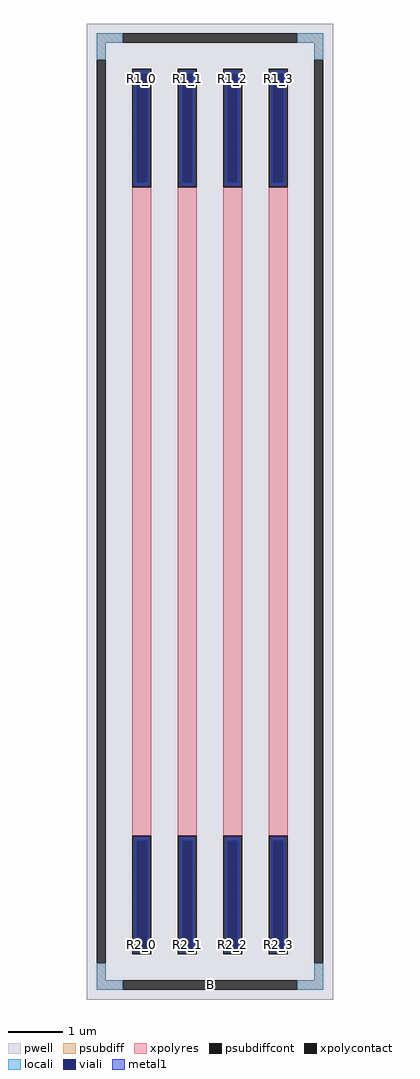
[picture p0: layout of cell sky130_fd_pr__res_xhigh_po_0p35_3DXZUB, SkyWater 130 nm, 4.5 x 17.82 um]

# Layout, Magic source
magic
tech sky130A
magscale 1 2
<< pwell >>
rect -450 -1782 450 1782
<< psubdiff >>
rect -414 1712 -318 1746
rect 318 1712 414 1746
rect -414 1650 -380 1712
rect 380 1650 414 1712
rect -414 -1712 -380 -1650
rect 380 -1712 414 -1650
rect -414 -1746 -318 -1712
rect 318 -1746 414 -1712
<< psubdiffcont >>
rect -318 1712 318 1746
rect -414 -1650 -380 1650
rect 380 -1650 414 1650
rect -318 -1746 318 -1712
<< xpolycontact >>
rect -284 1184 -214 1616
rect -284 -1616 -214 -1184
rect -118 1184 -48 1616
rect -118 -1616 -48 -1184
rect 48 1184 118 1616
rect 48 -1616 118 -1184
rect 214 1184 284 1616
rect 214 -1616 284 -1184
<< xpolyres >>
rect -284 -1184 -214 1184
rect -118 -1184 -48 1184
rect 48 -1184 118 1184
rect 214 -1184 284 1184
<< locali >>
rect -414 1712 -318 1746
rect 318 1712 414 1746
rect -414 1650 -380 1712
rect 380 1650 414 1712
rect -414 -1712 -380 -1650
rect 380 -1712 414 -1650
rect -414 -1746 -318 -1712
rect 318 -1746 414 -1712
<< viali >>
rect -268 1201 -230 1598
rect -102 1201 -64 1598
rect 64 1201 102 1598
rect 230 1201 268 1598
rect -268 -1598 -230 -1201
rect -102 -1598 -64 -1201
rect 64 -1598 102 -1201
rect 230 -1598 268 -1201
<< metal1 >>
rect -274 1598 -224 1610
rect -274 1201 -268 1598
rect -230 1201 -224 1598
rect -274 1189 -224 1201
rect -108 1598 -58 1610
rect -108 1201 -102 1598
rect -64 1201 -58 1598
rect -108 1189 -58 1201
rect 58 1598 108 1610
rect 58 1201 64 1598
rect 102 1201 108 1598
rect 58 1189 108 1201
rect 224 1598 274 1610
rect 224 1201 230 1598
rect 268 1201 274 1598
rect 224 1189 274 1201
rect -274 -1201 -224 -1189
rect -274 -1598 -268 -1201
rect -230 -1598 -224 -1201
rect -274 -1610 -224 -1598
rect -108 -1201 -58 -1189
rect -108 -1598 -102 -1201
rect -64 -1598 -58 -1201
rect -108 -1610 -58 -1598
rect 58 -1201 108 -1189
rect 58 -1598 64 -1201
rect 102 -1598 108 -1201
rect 58 -1610 108 -1598
rect 224 -1201 274 -1189
rect 224 -1598 230 -1201
rect 268 -1598 274 -1201
rect 224 -1610 274 -1598
<< labels >>
rlabel psubdiffcont 0 -1729 0 -1729 0 B
port 1 nsew
rlabel xpolycontact -249 1581 -249 1581 0 R1_0
port 2 nsew
rlabel xpolycontact -249 -1581 -249 -1581 0 R2_0
port 3 nsew
rlabel xpolycontact -83 1581 -83 1581 0 R1_1
port 4 nsew
rlabel xpolycontact -83 -1581 -83 -1581 0 R2_1
port 5 nsew
rlabel xpolycontact 83 1581 83 1581 0 R1_2
port 6 nsew
rlabel xpolycontact 83 -1581 83 -1581 0 R2_2
port 7 nsew
rlabel xpolycontact 249 1581 249 1581 0 R1_3
port 8 nsew
rlabel xpolycontact 249 -1581 249 -1581 0 R2_3
port 9 nsew
<< properties >>
string FIXED_BBOX -397 -1729 397 1729
string gencell sky130_fd_pr__res_xhigh_po_0p35
string library sky130
string parameters w 0.350 l 12 m 1 nx 4 wmin 0.350 lmin 0.50 class resistor rho 2000 val 69.646k dummy 0 dw 0.0 term 188.2 sterm 0.0 caplen 0 wmax 0.350 guard 1 glc 1 grc 1 gtc 1 gbc 1 compatible {sky130_fd_pr__res_xhigh_po_0p35  sky130_fd_pr__res_xhigh_po_0p69 sky130_fd_pr__res_xhigh_po_1p41  sky130_fd_pr__res_xhigh_po_2p85 sky130_fd_pr__res_xhigh_po_5p73} snake 0 full_metal 1 n_guard 0 hv_guard 0 vias 1 viagb 0 viagt 0 viagl 0 viagr 0 doports 1
<< end >>
